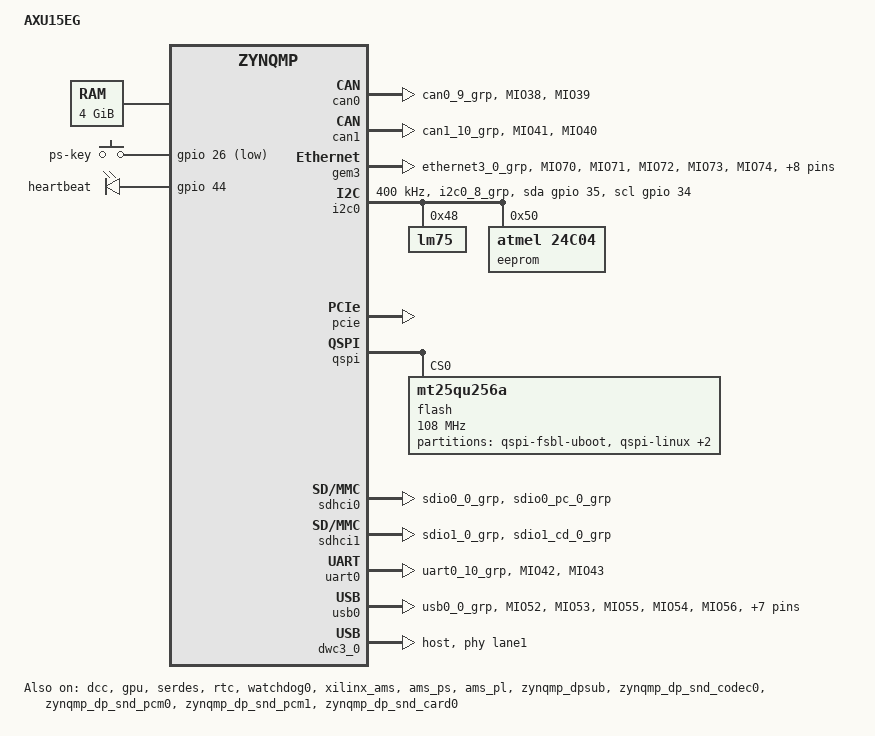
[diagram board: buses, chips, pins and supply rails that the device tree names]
/* Based on dts for zcu102. May be VERY erroneous. */
/* For details of specific devices, linux-xlnx can be referred to. */

/dts-v1/;

#include "zynqmp.dtsi"
#include "zynqmp-clk-ccf.dtsi"
#include <dt-bindings/input/input.h>
#include <dt-bindings/gpio/gpio.h>
#include <dt-bindings/pinctrl/pinctrl-zynqmp.h>
#include <dt-bindings/phy/phy.h>

/ {
    model = "AXU15EG";
    compatible = "alinx,axu15eg", "xlnx,zynqmp";
        
    aliases {
        ethernet0 = &gem3;
        i2c0 = &i2c0;
        i2c1 = &i2c1;
        mmc0 = &sdhci0;
        nvmem0 = &eeprom;
        rtc0 = &rtc;
        serial0 = &uart0;
        serial2 = &dcc;
        spi0 = &qspi;
        usb0 = &usb0;
    };

	chosen {
		bootargs = "earlycon";
		stdout-path = "serial0:115200n8";
		xlnx,eeprom = &eeprom;
	};

    memory@0 {
		device_type = "memory";
		reg = <0x0 0x0 0x0 0x80000000>, <0x8 0x00000000 0x0 0x80000000>;
	};

    gpio-keys {
        compatible = "gpio-keys";
        autorepeat;
        ps-key {
            label = "ps-key";
            gpios = <&gpio 26 GPIO_ACTIVE_LOW>;
            linux,code = <KEY_DOWN>;
            autorepeat;
        };
    };
    
	leds {
		compatible = "gpio-leds";
		heartbeat-led {
			label = "heartbeat";
			gpios = <&gpio 44 GPIO_ACTIVE_HIGH>;
			linux,default-trigger = "heartbeat";
		};
	};

    /* An si5332 clock generator should exist, but too little is known. */
};

&can0 {
    status = "okay";
	pinctrl-names = "default";
	pinctrl-0 = <&pinctrl_can0_default>;
};

&can1 {
    status = "okay";
	pinctrl-names = "default";
	pinctrl-0 = <&pinctrl_can1_default>;
};

&dcc {
	status = "okay";
};

&fpd_dma_chan1 {
	status = "okay";
};

&fpd_dma_chan2 {
	status = "okay";
};

&fpd_dma_chan3 {
	status = "okay";
};

&fpd_dma_chan4 {
	status = "okay";
};

&fpd_dma_chan5 {
	status = "okay";
};

&fpd_dma_chan6 {
	status = "okay";
};

&fpd_dma_chan7 {
	status = "okay";
};

&fpd_dma_chan8 {
	status = "okay";
};

/* TODO */
&gem3 {
	status = "okay";
	// phy-handle = <&phy0>;
	// phy-mode = "rgmii-id";
	pinctrl-names = "default";
	pinctrl-0 = <&pinctrl_gem3_default>;
    // mdio {
    //     /* 3 = 0b11 from AXU1EG manual */
    //     phy0: ethernet-phy@3 {
    //         reg = <3>;
    //     };
    // };
};

&gpio {
	status = "okay";
	pinctrl-names = "default";
	pinctrl-0 = <&pinctrl_gpio_default>;
};

&gpu {
	status = "okay";
};

// TODO: Fix i2c, may be totally wrong
&i2c0 {
    // status = "okay";
    clock-frequency = <400000>;
	pinctrl-names = "default", "gpio";
	pinctrl-0 = <&pinctrl_i2c0_default>;
	pinctrl-1 = <&pinctrl_i2c0_gpio>;
	scl-gpios = <&gpio 34 GPIO_ACTIVE_HIGH>;
	sda-gpios = <&gpio 35 GPIO_ACTIVE_HIGH>;

    lm75@48 {
        compatible = "lm75";
        reg = <0x48>;
    };

    eeprom: eeprom@50 {
        /* should be 24lc04 */
        compatible = "atmel,24c04";
        reg = <0x50>;
    };
};

/* Refer to UG1085 Table 28-1 "MIO Interfaces" */
&pinctrl0 {
    status = "okay";

    pinctrl_i2c0_default: i2c0-default {
		mux {
            /* Number in middle seems to be the index of possible setups,
             * counting from 0; 8 = (34 - 2) / 4.
             */
			groups = "i2c0_8_grp";
			function = "i2c0";
		};

		conf {
			groups = "i2c0_8_grp";
			bias-pull-up;
			slew-rate = <SLEW_RATE_SLOW>;
			power-source = <IO_STANDARD_LVCMOS18>;
		};
	};

	pinctrl_i2c0_gpio: i2c0-gpio {
		mux {
			groups = "gpio0_34_grp", "gpio0_35_grp";
			function = "gpio0";
		};

		conf {
			groups = "gpio0_34_grp", "gpio0_35_grp";
			slew-rate = <SLEW_RATE_SLOW>;
			power-source = <IO_STANDARD_LVCMOS18>;
		};
	};

    pinctrl_uart0_default: uart0-default {
		mux {
			groups = "uart0_10_grp";
			function = "uart0";
		};

		conf {
			groups = "uart0_10_grp";
			slew-rate = <SLEW_RATE_SLOW>;
			power-source = <IO_STANDARD_LVCMOS18>;
		};

		conf-rx {
			pins = "MIO42";
			bias-high-impedance;
		};

		conf-tx {
			pins = "MIO43";
			bias-disable;
		};
	};

	pinctrl_usb0_default: usb0-default {
		mux {
			groups = "usb0_0_grp";
			function = "usb0";
		};

		conf {
			groups = "usb0_0_grp";
			slew-rate = <SLEW_RATE_SLOW>;
			power-source = <IO_STANDARD_LVCMOS18>;
		};

		conf-rx {
			pins = "MIO52", "MIO53", "MIO55";
			bias-high-impedance;
		};

		conf-tx {
			pins = "MIO54", "MIO56", "MIO57", "MIO58", "MIO59",
			       "MIO60", "MIO61", "MIO62", "MIO63";
			bias-disable;
		};
	};

	pinctrl_gem3_default: gem3-default {
		mux {
			function = "ethernet3";
			groups = "ethernet3_0_grp";
		};

		conf {
			groups = "ethernet3_0_grp";
			slew-rate = <SLEW_RATE_SLOW>;
			power-source = <IO_STANDARD_LVCMOS18>;
		};

		conf-rx {
			pins = "MIO70", "MIO71", "MIO72", "MIO73", "MIO74",
									"MIO75";
			bias-high-impedance;
			low-power-disable;
		};

		conf-tx {
			pins = "MIO64", "MIO65", "MIO66", "MIO67", "MIO68",
									"MIO69";
			bias-disable;
			low-power-enable;
		};

		mux-mdio {
			function = "mdio3";
			groups = "mdio3_0_grp";
		};

		conf-mdio {
			groups = "mdio3_0_grp";
			slew-rate = <SLEW_RATE_SLOW>;
			power-source = <IO_STANDARD_LVCMOS18>;
			bias-disable;
		};
	};

	pinctrl_can0_default: can0-default {
		mux {
			function = "can0";
			groups = "can0_9_grp";
		};

		conf {
			groups = "can0_9_grp";
			slew-rate = <SLEW_RATE_SLOW>;
			power-source = <IO_STANDARD_LVCMOS18>;
		};

		conf-rx {
			pins = "MIO38";
			bias-high-impedance;
		};

		conf-tx {
			pins = "MIO39";
			bias-disable;
		};
	};

	pinctrl_can1_default: can1-default {
		mux {
			function = "can1";
			groups = "can1_10_grp";
		};

		conf {
			groups = "can1_10_grp";
			slew-rate = <SLEW_RATE_SLOW>;
			power-source = <IO_STANDARD_LVCMOS18>;
		};

		conf-rx {
			pins = "MIO41";
			bias-high-impedance;
		};

		conf-tx {
			pins = "MIO40";
			bias-disable;
		};
	};
    
    pinctrl_sdhci0_default: sdhci0-default {
        mux {
			groups = "sdio0_0_grp";
			function = "sdio0";
		};

		conf {
			groups = "sdio0_0_grp";
			slew-rate = <SLEW_RATE_SLOW>;
			power-source = <IO_STANDARD_LVCMOS18>;
			bias-disable;
		};

        /* eMMC reset */
		mux-cd {
			groups = "sdio0_pc_0_grp";
			function = "sdio1_pc";
		};

		conf-cd {
			groups = "sdio0_pc_0_grp";
			bias-pull-down; /* Default to not reset? */
			slew-rate = <SLEW_RATE_SLOW>;
			power-source = <IO_STANDARD_LVCMOS18>;
		};
    };

	pinctrl_sdhci1_default: sdhci1-default {
		mux {
			groups = "sdio1_0_grp";
			function = "sdio1";
		};

		conf {
			groups = "sdio1_0_grp";
			slew-rate = <SLEW_RATE_SLOW>;
			power-source = <IO_STANDARD_LVCMOS18>;
			bias-disable;
		};

		mux-cd {
			groups = "sdio1_cd_0_grp";
			function = "sdio1_cd";
		};

		conf-cd {
			groups = "sdio1_cd_0_grp";
			bias-high-impedance;
			bias-pull-up;
			slew-rate = <SLEW_RATE_SLOW>;
			power-source = <IO_STANDARD_LVCMOS18>;
		};
	};

	pinctrl_gpio_default: gpio-default {
		mux-sw {
			function = "gpio0";
			groups = "gpio0_26_grp", "gpio0_44_grp";
		};

		conf-sw {
			groups = "gpio0_26_grp", "gpio0_44_grp";
			slew-rate = <SLEW_RATE_SLOW>;
			power-source = <IO_STANDARD_LVCMOS18>;
		};

		conf-pull-up {
			pins = "MIO44";
			bias-pull-up;
		};

        conf-pull-down {
            pins = "MIO26";
            bias-pull-down;
        };
	};
};

&pcie {
    status = "okay";
};

&serdes {
    status = "okay";
};

&qspi {
    status = "okay";
    is-dual = <1>;
    flash@0 {
        /* Comments in this section are copied from zcu102, not added. */
        compatible = "mt25qu256a", "jedec,spi-nor";
        #address-cells = <1>;
		#size-cells = <1>;
		reg = <0x0>;
        spi-tx-bus-width = <4>;
		spi-rx-bus-width = <4>; /* FIXME also DUAL configuration possible */
		spi-max-frequency = <108000000>; /* Based on DC1 spec */
		partition@0 { /* for testing purpose */
			label = "qspi-fsbl-uboot";
			reg = <0x0 0x100000>;
		};
		partition@100000 { /* for testing purpose */
			label = "qspi-linux";
			reg = <0x100000 0x500000>;
		};
		partition@600000 { /* for testing purpose */
			label = "qspi-device-tree";
			reg = <0x600000 0x20000>;
		};
		partition@620000 { /* for testing purpose */
			label = "qspi-rootfs";
			reg = <0x620000 0x5E0000>;
		};
    };
};

&rtc {
	status = "okay";
};

/* No SATA */

&sdhci0 {
    status = "okay";
    pinctrl-names = "default";
	pinctrl-0 = <&pinctrl_sdhci0_default>;
	xlnx,mio-bank = <0>;
};

&sdhci1 {
    status = "okay";
	pinctrl-names = "default";
	pinctrl-0 = <&pinctrl_sdhci1_default>;
	xlnx,mio-bank = <1>;
};

&uart0 {
	status = "okay";
	pinctrl-names = "default";
	pinctrl-0 = <&pinctrl_uart0_default>;
};

/* No uart1 */

&usb0 {
	status = "okay";
	pinctrl-names = "default";
	pinctrl-0 = <&pinctrl_usb0_default>;
};

/* TODO: Check USB */
&dwc3_0 {
	status = "okay";
	dr_mode = "host";
	snps,usb3_lpm_capable;
	phy-names = "usb3-phy";
    phys = <&lane1 PHY_TYPE_USB3 0 1 26000000>;
	maximum-speed = "super-speed";
};

&watchdog0 {
	status = "okay";
};

&xilinx_ams {
	status = "okay";
};

&ams_ps {
	status = "okay";
};

&ams_pl {
	status = "okay";
};

/* TODO: Check DisplayPort */
&zynqmp_dpsub {
	status = "okay";
	phy-names = "dp-phy0", "dp-phy1";
    phys = <&lane3 PHY_TYPE_DP 0 2 27000000>,
           <&lane2 PHY_TYPE_DP 1 2 27000000>;
};

&zynqmp_dp_snd_codec0 {
	status = "okay";
};

&zynqmp_dp_snd_pcm0 {
	status = "okay";
};

&zynqmp_dp_snd_pcm1 {
	status = "okay";
};

&zynqmp_dp_snd_card0 {
	status = "okay";
};

&xlnx_dpdma {
	status = "okay";
};
